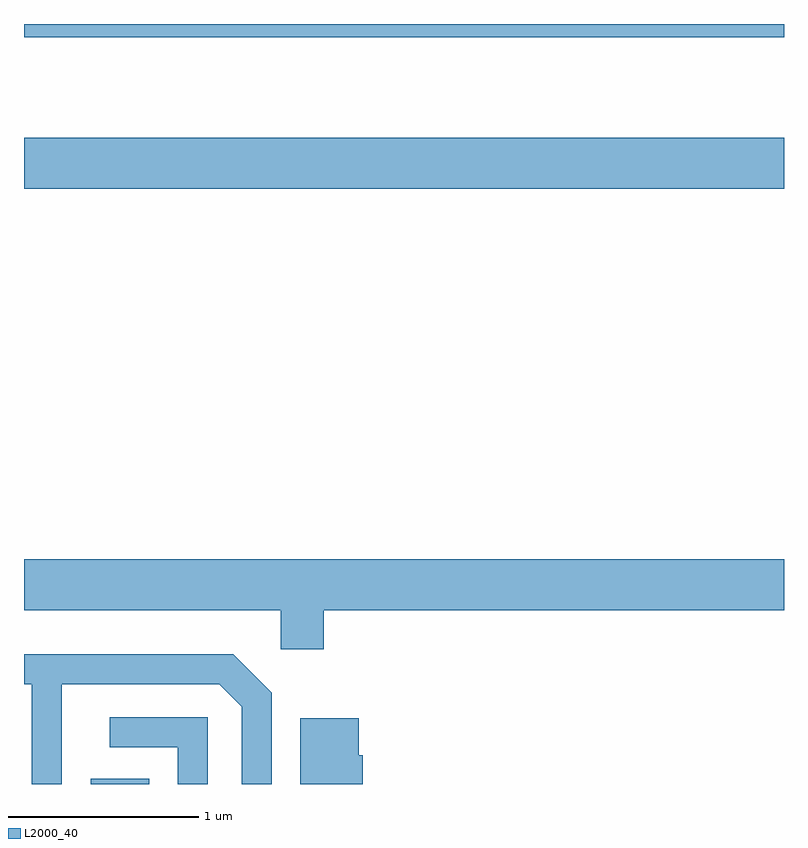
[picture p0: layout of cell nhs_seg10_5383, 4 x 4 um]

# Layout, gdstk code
import gdstk
lib = gdstk.Library(unit=1e-6, precision=1e-09)
def R(c, l, rs):  # rectangles x0, y0, x1, y1
    for r in rs: c.add(gdstk.rectangle(r[:2], r[2:], *l))
def P(c, l, *ps):  # polygons
    for p in ps: c.add(gdstk.Polygon(p, *l))
L2000_40 = (2000, 40)

nhs_seg10_5383 = lib.new_cell('nhs_seg10_5383')
R(nhs_seg10_5383, L2000_40, [(343.961,2148.522,344.269,2148.549), (343.611,2151.656,347.611,2151.924), (343.611,2152.451,347.611,2152.522)])
P(nhs_seg10_5383, L2000_40, [(345.189,2149.436),(347.611,2149.436),(347.611,2149.704),(343.611,2149.704),(343.611,2149.436),(344.961,2149.436),(344.961,2149.231),(345.189,2149.231)],
  [(343.809,2149.046),(344.639,2149.046),(344.756,2148.929),(344.756,2148.522),(344.914,2148.522),(344.914,2149.002),(344.712,2149.204),(343.611,2149.204),(343.611,2149.046),(343.651,2149.046),(343.651,2148.522),(343.809,2148.522)],
  [(344.579,2148.874),(344.063,2148.874),(344.063,2148.716),(344.421,2148.716),(344.421,2148.522),(344.579,2148.522)],
  [(345.394,2148.674),(345.374,2148.674),(345.374,2148.869),(345.066,2148.869),(345.066,2148.522),(345.394,2148.522)])

lib.write_gds('nhs_seg10_5383.gds')
